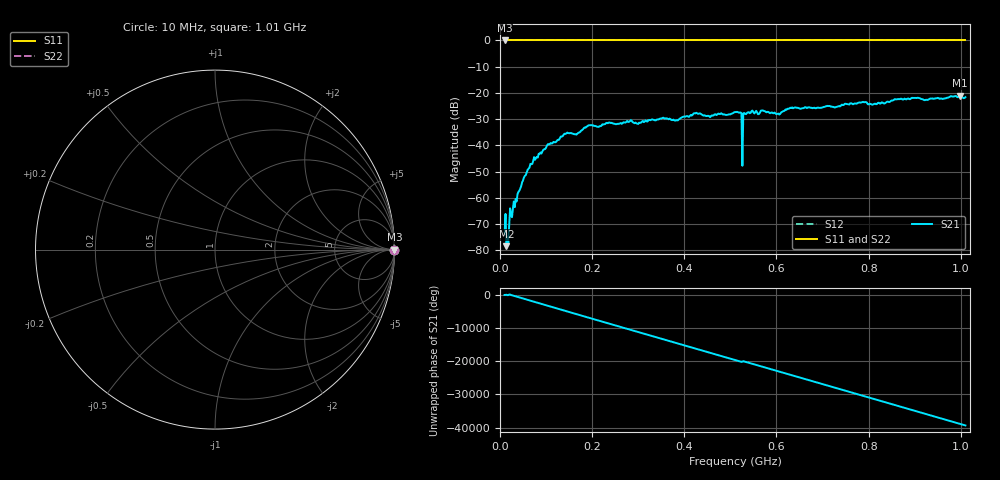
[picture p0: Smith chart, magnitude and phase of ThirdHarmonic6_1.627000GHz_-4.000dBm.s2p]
! 8/16/2025 7:26:16 PM
! C:\ANRITSUVNA\TEMP\TEMP.S2P
! CHANNEL.1
! TR.MEASUREMENT
! RAW.DATA
! RF.CORRECTION.OFF
! AVERAGING.OFF
! IF.BANDWIDTH: 5KHZ
! SWEEPTYPE:  FREQ.SWEEP(Linear)
! Reference Plane Port Info
! PORT:  PORT1  PORT2
! DISTANCE:  0  m  0  m
! TIME:  0  s  0  s
! PHASE.OFFSET:  0  deg.  0  deg.
! LOSS:  0  dB  0  dB
! REF.LOSS:  0  dB  0  dB
! REF.FREQ:  0  Hz  0  Hz
! Power Info
! POWER:  -20  dBm  -20  dBm
! EFF.POWER:  -20  dBm  -20  dBm
! SOURCE.ATTEN:  0  dB  0  dB
! TEST.ATTEN:  0  dB  0  dB
# GHZ S RI R 50.0
! FREQ.GHZ  S11RE  S11IM  S21RE  S21IM  S12RE  S12IM  S22RE  S22IM
!; PortSelection: Port_12
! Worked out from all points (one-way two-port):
!   501 points, 10 MHz to 1.01 GHz, reference 50 ohm
!   highest |S21| = -21.06 dB at 998 MHz (marker M1); lowest = -78.4 dB at 14 MHz (marker M2)
!   lowest |S11| = 0.0 dB at 10 MHz (marker M3)
!   |S11| at or under -10 dB: nowhere
!   |S22| runs from 0.0 to 0.0 dB; largest |S21 - S12| = 1.1
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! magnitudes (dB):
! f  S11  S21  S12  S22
! 10 MHz  0.0  -73.7  0.0  0.0
! 14 MHz  0.0  -78.4  0.0  0.0
! 18 MHz  0.0  -77.3  0.0  0.0
! 26 MHz  0.0  -67.4  0.0  0.0
! 52 MHz  0.0  -52.2  0.0  0.0
! 70 MHz  0.0  -47.1  0.0  0.0
! 106 MHz  0.0  -39.6  0.0  0.0
! 178 MHz  0.0  -34.2  0.0  0.0
! 196 MHz  0.0  -32.3  0.0  0.0
! 344 MHz  0.0  -30.1  0.0  0.0
! 510 MHz  0.0  -27.3  0.0  0.0
! 520 MHz  0.0  -27.5  0.0  0.0
! 522 MHz  0.0  -27.5  0.0  0.0
! 530 MHz  0.0  -27.7  0.0  0.0
! 532 MHz  0.0  -28.0  0.0  0.0
! 544 MHz  0.0  -27.6  0.0  0.0
! 604 MHz  0.0  -27.9  0.0  0.0
! 630 MHz  0.0  -25.7  0.0  0.0
! 678 MHz  0.0  -25.8  0.0  0.0
! 844 MHz  0.0  -23.5  0.0  0.0
! 998 MHz  0.0  -21.1  0.0  0.0
! 1.01 GHz  0.0  -21.6  0.0  0.0
